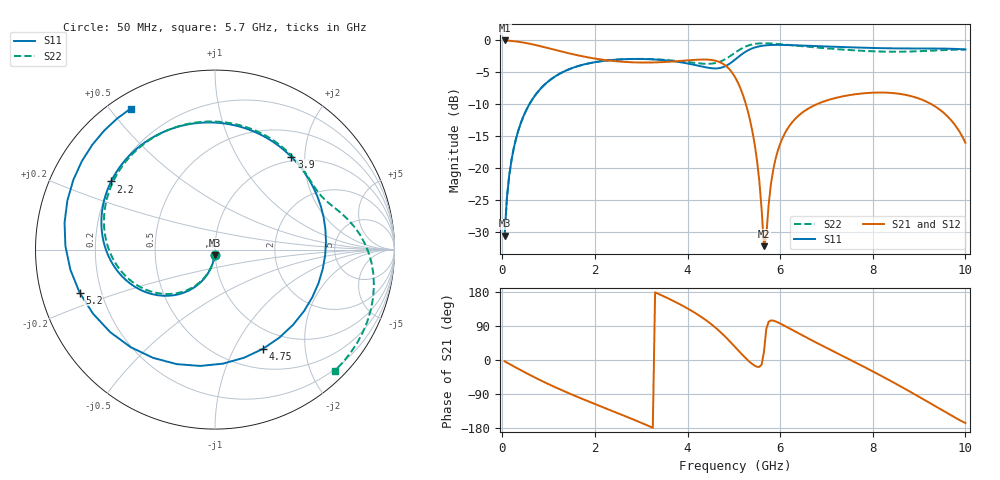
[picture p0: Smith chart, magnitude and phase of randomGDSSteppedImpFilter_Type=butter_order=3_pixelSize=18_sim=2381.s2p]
! freq	dB(S11)	phase(S11)	dB(S12)	phase(S12)
!  dB(S21)	phase(S21)	dB(S22)	phase(S22)
!S-par simulation data
#  GHz  S  DB  R 50
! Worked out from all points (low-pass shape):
!   200 points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, 50 MHz to 10 GHz, reference 50 ohm
!   highest |S21| = -0.01 dB at 50 MHz (marker M1); lowest = -32.3 dB at 5.65 GHz (marker M2)
!   |S21| within 3 dB of the highest: start of sweep to 2.146 GHz; 4.274 GHz to 4.411 GHz (137.4 MHz wide, 3.16 % of centre)
!   lowest |S11| = -30.6 dB at 50 MHz (marker M3), VSWR 1.06, Z = 49.7 - j2.92 ohm
!   |S11| at or under -10 dB: start of sweep to 586.3 MHz
!   |S22| runs from -30.6 to -0.4 dB; largest |S21 - S12| = 0
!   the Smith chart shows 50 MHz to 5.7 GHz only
!   S11 on the Smith chart (normalised r, x): 50 MHz: 0.99, -0.06; 2.2 GHz: 0.20, +0.29; 3.9 GHz: 0.92, +1.73; 4.75 GHz: 0.74, -1.31; 5.2 GHz: 0.12, -0.15; 5.7 GHz: 0.06, +0.57
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0.05  -30.63 -93.5  -0.01 -3.4  -0.01 -3.4  -30.63 -93.6
0.2  -18.70 -103.8  -0.08 -13.6  -0.08 -13.6  -18.70 -104.4
0.5  -11.20 -123.2  -0.39 -33.4  -0.39 -33.4  -11.21 -124.7
1.05  -6.11 -155.6  -1.32 -66.7  -1.32 -66.7  -6.11 -158.8
1.75  -3.80 168.3  -2.52 -103.8  -2.52 -103.8  -3.80 163.1
2.2  -3.19 146.8  -3.06 -125.9  -3.06 -125.9  -3.20 140.3
3.4  -3.04 85.2  -3.42 173.0  -3.42 173.0  -3.00 80.5
3.9  -3.48 50.5  -3.19 142.8  -3.19 142.8  -3.32 55.7
4.4  -4.23 -2.7  -3.00 104.9  -3.00 104.9  -3.68 33.6
4.75  -4.24 -64.2  -3.61 69.2  -3.61 69.2  -3.19 21.0
5.05  -2.87 -130.9  -6.07 31.2  -6.07 31.2  -1.81 5.9
5.2  -2.03 -162.4  -8.63 11.7  -8.63 11.7  -1.15 -5.0
5.5  -1.01 146.4  -18.81 -17.9  -18.81 -17.9  -0.50 -29.4
5.65  -0.81 126.7  -32.27 20.8  -32.27 20.8  -0.45 -41.4
5.7  -0.77 120.8  -30.78 81.3  -30.78 81.3  -0.45 -45.3
6  -0.70 91.1  -16.22 96.3  -16.22 96.3  -0.59 -67.8
6.7  -0.87 42.1  -10.32 50.8  -10.32 50.8  -1.06 -117.0
7.55  -1.09 -2.9  -8.52 -1.7  -8.52 -1.7  -1.53 -178.9
8.35  -1.24 -40.7  -8.21 -52.8  -8.21 -52.8  -1.77 114.8
8.8  -1.26 -62.5  -8.69 -83.2  -8.69 -83.2  -1.75 73.9
9.3  -1.27 -89.6  -10.15 -118.3  -10.15 -118.3  -1.59 27.3
10  -1.41 -139.6  -16.06 -166.1  -16.06 -166.1  -1.44 -36.8
